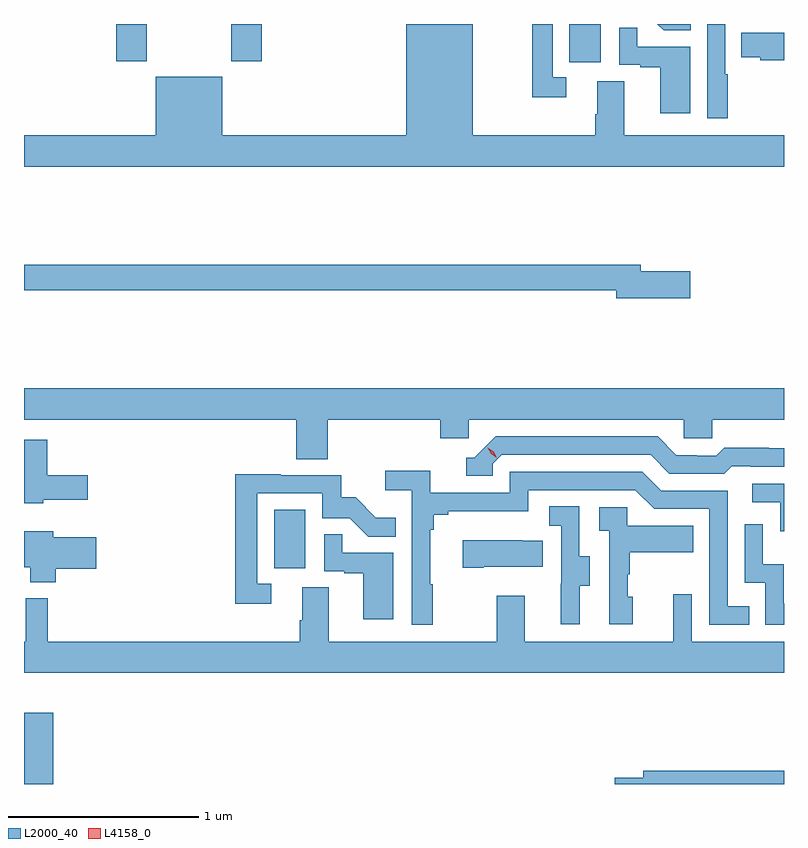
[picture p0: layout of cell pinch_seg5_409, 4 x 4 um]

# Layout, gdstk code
import gdstk
lib = gdstk.Library(unit=1e-6, precision=1e-09)
def R(c, l, rs):  # rectangles x0, y0, x1, y1
    for r in rs: c.add(gdstk.rectangle(r[:2], r[2:], *l))
def P(c, l, *ps):  # polygons
    for p in ps: c.add(gdstk.Polygon(p, *l))
L2000_40 = (2000, 40)
L4158_0 = (4158, 0)

pinch_seg5_409 = lib.new_cell('pinch_seg5_409')
R(pinch_seg5_409, L2000_40, [(998.723,853.51,998.878,853.885), (1000.04,854.646,1000.204,854.953), (1001.594,857.31,1001.758,857.51), (999.209,857.313,999.369,857.51), (999.814,857.313,999.974,857.51)])
P(pinch_seg5_409, L2000_40, [(1002.427,857.246),(1002.414,857.246),(1002.414,857.51),(1002.318,857.51),(1002.318,857.013),(1002.427,857.013)],
  [(1001.578,857.229),(1001.505,857.229),(1001.505,857.51),(1001.397,857.51),(1001.397,857.124),(1001.578,857.124)],
  [(1002.723,856.924),(1001.881,856.924),(1001.881,857.21),(1001.741,857.21),(1001.741,857.036),(1001.729,857.036),(1001.729,856.924),(1001.086,856.924),(1001.086,857.51),(1000.736,857.51),(1000.736,856.924),(999.766,856.924),(999.766,857.233),(999.416,857.233),(999.416,856.924),(998.723,856.924),(998.723,856.76),(1002.723,856.76)],
  [(1002.233,857.51),(1002.055,857.51),(1002.089,857.476),(1002.233,857.476)],
  [(1002.229,857.391),(1001.951,857.391),(1001.951,857.489),(1001.856,857.489),(1001.856,857.295),(1001.967,857.295),(1001.967,857.283),(1002.071,857.283),(1002.071,857.04),(1002.229,857.04)],
  [(1002.723,857.464),(1002.499,857.464),(1002.499,857.335),(1002.597,857.335),(1002.597,857.318),(1002.723,857.318)],
  [(1002.229,856.208),(1001.968,856.208),(1001.968,856.244),(998.723,856.244),(998.723,856.108),(1001.84,856.108),(1001.84,856.066),(1002.229,856.066)],
  [(1000.322,855.428),(1000.913,855.428),(1000.913,855.33),(1001.064,855.33),(1001.064,855.428),(1002.195,855.428),(1002.195,855.33),(1002.345,855.33),(1002.345,855.428),(1002.723,855.428),(1002.723,855.592),(998.723,855.592),(998.723,855.428),(1000.157,855.428),(1000.157,855.22),(1000.322,855.22)],
  [(1001.19,855.195),(1001.238,855.243),(1002.021,855.243),(1002.12,855.144),(1002.409,855.144),(1002.448,855.183),(1002.547,855.183),(1002.547,855.18),(1002.723,855.18),(1002.723,855.277),(1002.642,855.277),(1002.642,855.28),(1002.409,855.28),(1002.367,855.237),(1002.264,855.237),(1002.264,855.24),(1002.157,855.24),(1002.058,855.339),(1001.205,855.339),(1001.094,855.228),(1001.051,855.228),(1001.051,855.132),(1001.19,855.132)],
  [(998.823,855.005),(999.058,855.005),(999.058,855.135),(998.846,855.135),(998.846,855.322),(998.723,855.322),(998.723,854.987),(998.823,854.987)],
  [(1000.873,854.561),(1000.861,854.561),(1000.861,854.849),(1000.88,854.849),(1000.88,854.926),(1000.957,854.926),(1000.957,854.945),(1001.376,854.945),(1001.376,855.057),(1001.94,855.057),(1002.039,854.958),(1002.33,854.958),(1002.33,854.349),(1002.539,854.349),(1002.539,854.445),(1002.426,854.445),(1002.426,855.054),(1002.076,855.054),(1001.977,855.153),(1001.28,855.153),(1001.28,855.042),(1000.862,855.042),(1000.862,855.158),(1000.623,855.158),(1000.623,855.056),(1000.764,855.056),(1000.764,854.349),(1000.873,854.349)],
  [(1000.024,854.565),(999.951,854.565),(999.951,855.039),(1000.293,855.039),(1000.293,854.91),(1000.437,854.91),(1000.535,854.812),(1000.679,854.812),(1000.679,854.911),(1000.575,854.911),(1000.468,855.018),(1000.392,855.018),(1000.392,855.135),(1000.073,855.135),(1000.073,855.14),(999.835,855.14),(999.835,854.46),(1000.024,854.46)],
  [(1002.723,855.09),(1002.555,855.09),(1002.555,854.994),(1002.702,854.994),(1002.702,854.841),(1002.723,854.841)],
  [(1001.647,854.554),(1001.701,854.554),(1001.701,854.709),(1001.646,854.709),(1001.646,854.972),(1001.487,854.972),(1001.487,854.869),(1001.55,854.869),(1001.55,854.565),(1001.549,854.565),(1001.549,854.352),(1001.647,854.352)],
  [(1001.926,854.496),(1001.901,854.496),(1001.901,854.615),(1001.911,854.615),(1001.911,854.729),(1002.245,854.729),(1002.245,854.869),(1001.898,854.869),(1001.898,854.967),(1001.751,854.967),(1001.751,854.843),(1001.802,854.843),(1001.802,854.352),(1001.926,854.352)],
  [(1002.723,854.458),(1002.722,854.458),(1002.722,854.666),(1002.612,854.666),(1002.612,854.878),(1002.516,854.878),(1002.516,854.568),(1002.624,854.568),(1002.624,854.349),(1002.723,854.349)],
  [(998.891,854.644),(999.103,854.644),(999.103,854.809),(998.878,854.809),(998.878,854.839),(998.723,854.839),(998.723,854.651),(998.756,854.651),(998.756,854.573),(998.891,854.573)],
  [(1000.666,854.727),(1000.397,854.727),(1000.397,854.825),(1000.302,854.825),(1000.302,854.631),(1000.409,854.631),(1000.409,854.619),(1000.508,854.619),(1000.508,854.376),(1000.666,854.376)],
  [(1001.143,854.654),(1001.453,854.654),(1001.453,854.791),(1001.345,854.791),(1001.345,854.794),(1001.031,854.794),(1001.031,854.647),(1001.143,854.647)],
  [(1002.723,854.26),(1002.237,854.26),(1002.237,854.509),(1002.14,854.509),(1002.14,854.26),(1001.359,854.26),(1001.359,854.5),(1001.212,854.5),(1001.212,854.26),(1000.327,854.26),(1000.327,854.546),(1000.187,854.546),(1000.187,854.372),(1000.175,854.372),(1000.175,854.26),(998.849,854.26),(998.849,854.488),(998.732,854.488),(998.732,854.26),(998.723,854.26),(998.723,854.096),(1002.723,854.096)],
  [(1002.723,853.58),(1001.981,853.58),(1001.981,853.544),(1001.832,853.544),(1001.832,853.51),(1002.723,853.51)])
P(pinch_seg5_409, L4158_0, [(1001.212,855.227),(1001.181,855.247),(1001.165,855.28),(1001.165,855.28),(1001.165,855.28),(1001.196,855.26),(1001.212,855.228),(1001.212,855.227)])

lib.write_gds('pinch_seg5_409.gds')
